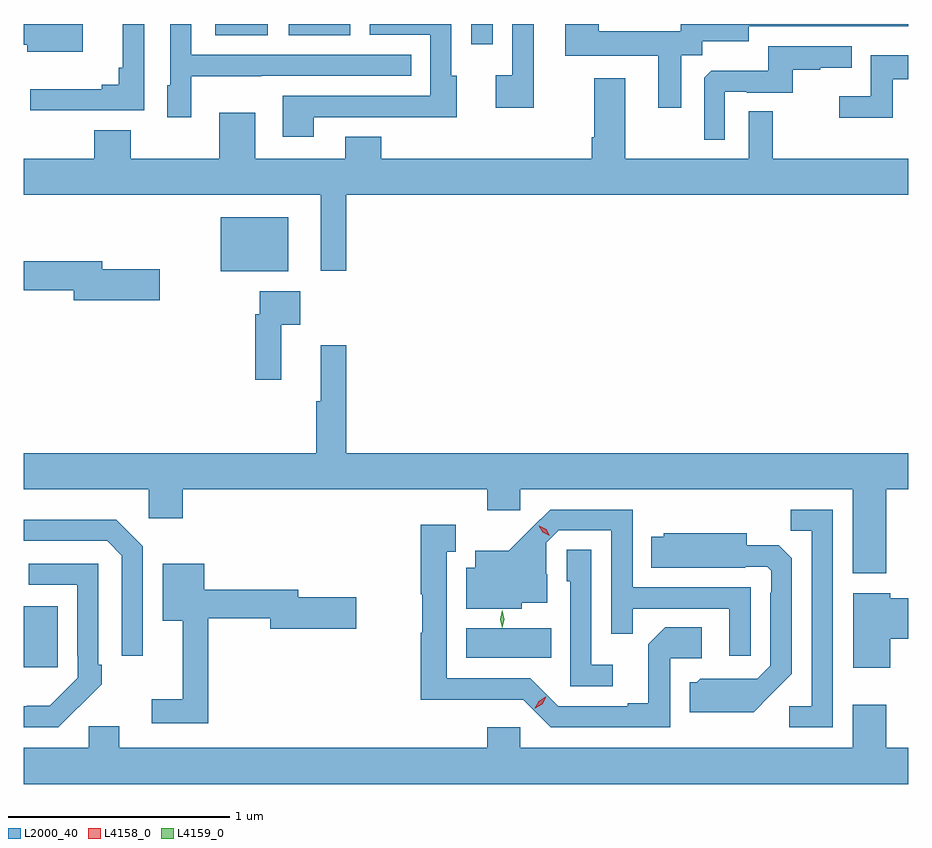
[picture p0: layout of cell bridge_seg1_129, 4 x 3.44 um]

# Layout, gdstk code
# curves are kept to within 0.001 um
import gdstk
lib = gdstk.Library(unit=1e-6, precision=1e-09)
def R(c, l, rs):  # rectangles x0, y0, x1, y1
    for r in rs: c.add(gdstk.rectangle(r[:2], r[2:], *l))
def P(c, l, *ps):  # polygons
    for p in ps: c.add(gdstk.Polygon(p, *l))
L2000_40 = (2000, 40)
L4158_0 = (4158, 0)
L4159_0 = (4159, 0)

bridge_seg1_129 = lib.new_cell('bridge_seg1_129')
R(bridge_seg1_129, L2000_40, [(381.124,577.569,381.277,577.843), (383.126,577.61,383.51,577.744), (382.016,579.359,382.321,579.604), (383.148,580.386,383.244,580.477), (381.989,580.427,382.228,580.477), (382.322,580.427,382.6,580.477)])
P(bridge_seg1_129, L2000_40, [(381.391,580.477),(381.124,580.477),(381.124,580.384),(381.14,580.384),(381.14,580.352),(381.391,580.352)],
  [(384.097,580.336),(384.192,580.336),(384.192,580.4),(384.403,580.4),(384.403,580.467),(384.961,580.467),(384.961,580.466),(385.124,580.466),(385.124,580.477),(384.096,580.477),(384.096,580.444),(383.725,580.444),(383.725,580.477),(383.573,580.477),(383.573,580.334),(383.993,580.334),(383.993,580.098),(384.097,580.098)],
  [(383.431,580.477),(383.334,580.477),(383.334,580.246),(383.259,580.246),(383.259,580.098),(383.431,580.098)],
  [(381.669,580.477),(381.572,580.477),(381.572,580.279),(381.553,580.279),(381.553,580.202),(381.476,580.202),(381.476,580.183),(381.153,580.183),(381.153,580.086),(381.669,580.086)],
  [(382.435,580.056),(382.865,580.056),(382.865,580.055),(383.083,580.055),(383.083,580.242),(383.058,580.242),(383.058,580.477),(382.689,580.477),(382.689,580.428),(382.962,580.428),(382.962,580.152),(382.295,580.152),(382.295,579.966),(382.435,579.966)],
  [(381.882,580.241),(382.199,580.241),(382.199,580.242),(382.877,580.242),(382.877,580.338),(381.882,580.338),(381.882,580.477),(381.786,580.477),(381.786,580.2),(381.773,580.2),(381.773,580.056),(381.882,580.056)],
  [(384.294,580.17),(384.394,580.17),(384.394,580.167),(384.602,580.167),(384.602,580.269),(384.725,580.269),(384.725,580.28),(384.869,580.28),(384.869,580.377),(384.492,580.377),(384.492,580.265),(384.233,580.265),(384.201,580.233),(384.201,579.953),(384.294,579.953)],
  [(385.053,580.227),(385.124,580.227),(385.124,580.335),(384.954,580.335),(384.954,580.15),(384.813,580.15),(384.813,580.052),(385.053,580.052)],
  [(382.583,579.704),(385.124,579.704),(385.124,579.868),(384.511,579.868),(384.511,580.082),(384.402,580.082),(384.402,579.868),(383.845,579.868),(383.845,580.231),(383.705,580.231),(383.705,579.964),(383.693,579.964),(383.693,579.868),(382.741,579.868),(382.741,579.967),(382.577,579.967),(382.577,579.868),(382.171,579.868),(382.171,580.075),(382.007,580.075),(382.007,579.868),(381.607,579.868),(381.607,579.997),(381.443,579.997),(381.443,579.868),(381.124,579.868),(381.124,579.704),(382.466,579.704),(382.466,579.36),(382.583,579.36)],
  [(381.739,579.369),(381.478,579.369),(381.478,579.403),(381.124,579.403),(381.124,579.274),(381.35,579.274),(381.35,579.227),(381.739,579.227)],
  [(382.289,579.116),(382.375,579.116),(382.375,579.268),(382.191,579.268),(382.191,579.164),(382.171,579.164),(382.171,578.868),(382.289,578.868)],
  [(385.025,578.372),(385.124,578.372),(385.124,578.536),(382.583,578.536),(382.583,579.025),(382.466,579.025),(382.466,578.772),(382.447,578.772),(382.447,578.536),(381.124,578.536),(381.124,578.372),(381.69,578.372),(381.69,578.241),(381.842,578.241),(381.842,578.372),(383.219,578.372),(383.219,578.277),(383.37,578.277),(383.37,578.372),(384.872,578.372),(384.872,577.992),(385.025,577.992)],
  [(384.783,578.28),(384.592,578.28),(384.592,578.185),(384.687,578.185),(384.687,577.392),(384.585,577.392),(384.585,577.296),(384.783,577.296)],
  [(384.411,577.929),(383.877,577.929),(383.877,578.28),(383.504,578.28),(383.317,578.095),(383.165,578.095),(383.165,578.017),(383.126,578.017),(383.126,577.832),(383.376,577.832),(383.376,577.859),(383.491,577.859),(383.491,577.988),(383.487,577.988),(383.487,578.13),(383.544,578.187),(383.781,578.187),(383.781,577.72),(383.879,577.72),(383.879,577.833),(384.315,577.833),(384.315,577.62),(384.411,577.62)],
  [(381.663,578.115),(381.542,578.236),(381.124,578.236),(381.124,578.139),(381.501,578.139),(381.567,578.073),(381.567,577.62),(381.663,577.62)],
  [(384.048,577.608),(384.19,577.608),(384.19,577.748),(384.025,577.748),(383.949,577.672),(383.949,577.405),(383.855,577.405),(383.855,577.392),(383.541,577.392),(383.415,577.518),(383.038,577.518),(383.038,578.091),(383.077,578.091),(383.077,578.212),(382.92,578.212),(382.92,577.899),(382.927,577.899),(382.927,577.725),(382.92,577.725),(382.92,577.421),(383.382,577.422),(383.508,577.296),(384.048,577.296)],
  [(384.505,577.445),(384.597,577.538),(384.597,578.06),(384.538,578.119),(384.394,578.119),(384.394,578.173),(384.018,578.173),(384.018,578.158),(383.962,578.158),(383.962,578.018),(384.386,578.018),(384.386,578.022),(384.486,578.022),(384.504,578.004),(384.504,577.904),(384.501,577.904),(384.501,577.575),(384.441,577.515),(384.184,577.516),(384.168,577.5),(384.137,577.5),(384.137,577.364),(384.425,577.364)],
  [(383.788,577.579),(383.691,577.579),(383.691,578.099),(383.58,578.099),(383.58,577.956),(383.595,577.956),(383.595,577.482),(383.788,577.482)],
  [(381.371,577.387),(381.372,577.386),(381.477,577.491),(381.477,577.579),(381.462,577.579),(381.462,578.037),(381.147,578.037),(381.147,577.941),(381.366,577.941),(381.366,577.621),(381.369,577.621),(381.369,577.521),(381.241,577.393),(381.124,577.392),(381.124,577.296),(381.28,577.296)],
  [(381.959,577.789),(382.238,577.789),(382.238,577.742),(382.627,577.742),(382.627,577.884),(382.366,577.884),(382.366,577.918),(381.94,577.918),(381.94,578.035),(381.752,578.035),(381.752,577.778),(381.842,577.778),(381.842,577.423),(381.702,577.423),(381.702,577.314),(381.959,577.314)],
  [(385.042,577.697),(385.124,577.697),(385.124,577.88),(385.042,577.88),(385.042,577.903),(384.875,577.903),(384.875,577.566),(385.042,577.566)],
  [(385.124,577.204),(385.025,577.204),(385.025,577.399),(384.872,577.399),(384.872,577.204),(383.37,577.204),(383.37,577.297),(383.219,577.297),(383.219,577.204),(381.556,577.204),(381.556,577.302),(381.417,577.302),(381.417,577.204),(381.124,577.204),(381.124,577.04),(385.124,577.04)])
P(bridge_seg1_129, L4158_0, [(383.503,578.162),(383.472,578.178),(383.454,578.208),(383.454,578.208),(383.455,578.208),(383.486,578.192),(383.503,578.162),(383.503,578.162)],
  [(383.436,577.382),(383.436,577.382),(383.454,577.415),(383.485,577.434),(383.486,577.434),(383.486,577.434),(383.468,577.401),(383.437,577.382)])
P(bridge_seg1_129, L4159_0, [(383.287,577.747),(383.278,577.786),(383.287,577.825),(383.288,577.825),(383.288,577.825),(383.298,577.786),(383.288,577.747),(383.288,577.747)])

lib.write_gds('bridge_seg1_129.gds')
